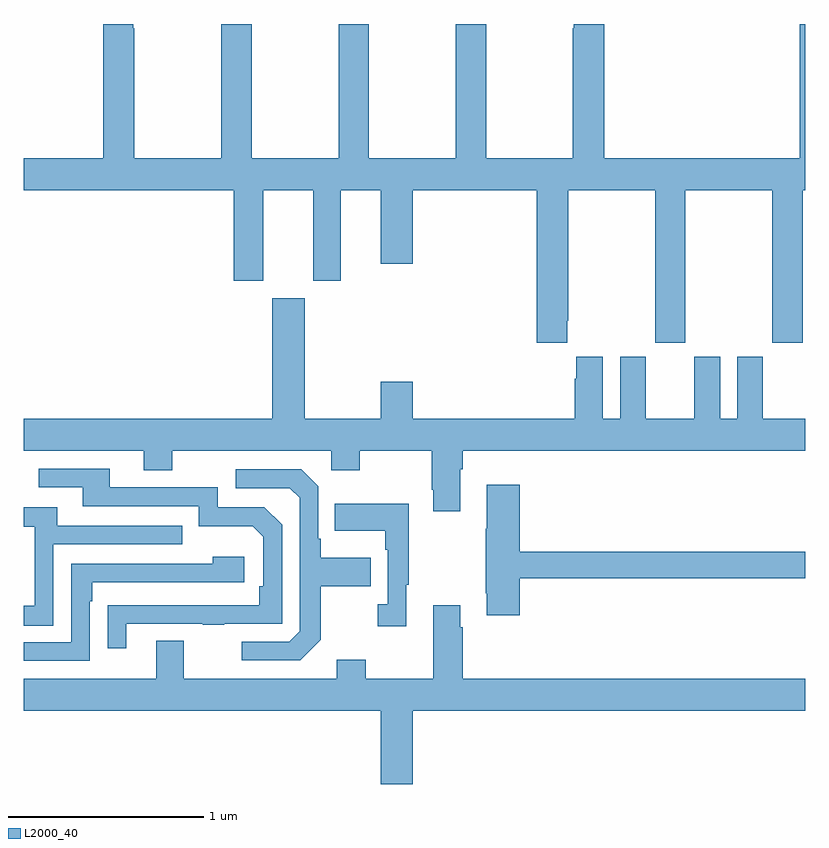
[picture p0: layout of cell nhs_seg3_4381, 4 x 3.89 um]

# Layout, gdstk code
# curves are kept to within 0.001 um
import gdstk
lib = gdstk.Library(unit=1e-6, precision=1e-09)
def P(c, l, *ps):  # polygons
    for p in ps: c.add(gdstk.Polygon(p, *l))
L2000_40 = (2000, 40)

nhs_seg3_4381 = lib.new_cell('nhs_seg3_4381')
P(nhs_seg3_4381, L2000_40, [(345.781,734.881),(345.786,734.881),(345.786,735.548),(346.231,735.548),(346.231,734.769),(346.386,734.769),(346.386,735.548),(346.831,735.548),(346.831,734.769),(346.986,734.769),(346.986,735.548),(347,735.548),(347,736.4),(346.973,736.4),(346.973,735.712),(345.971,735.712),(345.971,736.4),(345.815,736.4),(345.815,736.379),(345.811,736.379),(345.811,735.712),(345.366,735.712),(345.366,736.4),(345.211,736.4),(345.211,735.712),(344.766,735.712),(344.766,736.4),(344.611,736.4),(344.611,735.712),(344.166,735.712),(344.166,736.4),(344.011,736.4),(344.011,735.712),(343.566,735.712),(343.566,736.379),(343.561,736.379),(343.561,736.4),(343.406,736.4),(343.406,735.712),(343,735.712),(343,735.548),(344.075,735.548),(344.075,735.087),(344.227,735.087),(344.227,735.548),(344.483,735.548),(344.483,735.087),(344.623,735.087),(344.623,735.548),(344.828,735.548),(344.828,735.174),(344.992,735.174),(344.992,735.548),(345.626,735.548),(345.626,734.769),(345.781,734.769)],
  [(344.574,734.117),(344.721,734.117),(344.721,734.216),(345.088,734.216),(345.088,734.017),(345.095,734.017),(345.095,733.905),(345.235,733.905),(345.235,734.12),(345.248,734.12),(345.248,734.216),(347,734.216),(347,734.38),(346.783,734.38),(346.783,734.698),(346.652,734.698),(346.652,734.38),(346.564,734.38),(346.564,734.698),(346.433,734.698),(346.433,734.38),(346.183,734.38),(346.183,734.698),(346.052,734.698),(346.052,734.38),(345.964,734.38),(345.964,734.698),(345.827,734.698),(345.827,734.585),(345.821,734.585),(345.821,734.38),(344.992,734.38),(344.992,734.569),(344.828,734.569),(344.828,734.38),(344.437,734.38),(344.437,734.995),(344.273,734.995),(344.273,734.38),(343,734.38),(343,734.216),(343.613,734.216),(343.613,734.117),(343.761,734.117),(343.761,734.216),(344.574,734.216)],
  [(343.525,733.329),(343.915,733.329),(343.915,733.324),(344.027,733.324),(344.027,733.329),(344.322,733.329),(344.322,733.836),(344.232,733.926),(343.992,733.926),(343.992,734.028),(343.441,734.028),(343.441,734.124),(343.077,734.124),(343.077,734.028),(343.301,734.028),(343.301,733.932),(343.896,733.932),(343.896,733.829),(344.173,733.829),(344.226,733.776),(344.226,733.522),(344.206,733.522),(344.206,733.425),(343.429,733.424),(343.429,733.206),(343.525,733.206)],
  [(344.521,733.249),(344.521,733.522),(344.777,733.522),(344.777,733.669),(344.521,733.669),(344.521,733.765),(344.508,733.765),(344.508,734.034),(344.421,734.121),(344.085,734.121),(344.085,734.025),(344.361,734.025),(344.412,733.974),(344.412,733.293),(344.358,733.239),(344.115,733.239),(344.115,733.143),(344.415,733.143)],
  [(345.539,733.564),(347,733.564),(347,733.7),(345.539,733.7),(345.539,734.041),(345.371,734.041),(345.371,733.817),(345.364,733.817),(345.364,733.486),(345.371,733.486),(345.371,733.374),(345.539,733.374)],
  [(344.959,733.529),(344.971,733.529),(344.971,733.945),(344.593,733.945),(344.593,733.805),(344.85,733.805),(344.85,733.709),(344.862,733.709),(344.862,733.43),(344.811,733.43),(344.811,733.317),(344.959,733.317)],
  [(343.152,733.737),(343.811,733.737),(343.811,733.833),(343.171,733.833),(343.171,733.927),(343,733.927),(343,733.827),(343.056,733.827),(343.056,733.422),(343,733.422),(343,733.321),(343.152,733.321)],
  [(343.338,733.445),(343.351,733.445),(343.351,733.542),(344.128,733.542),(344.128,733.672),(343.967,733.672),(343.967,733.638),(343.242,733.638),(343.242,733.236),(343,733.236),(343,733.14),(343.338,733.14)],
  [(344.992,732.884),(347,732.884),(347,733.048),(345.248,733.048),(345.248,733.313),(345.235,733.313),(345.235,733.426),(345.095,733.426),(345.095,733.048),(344.751,733.048),(344.751,733.147),(344.603,733.147),(344.603,733.048),(343.819,733.048),(343.819,733.243),(343.679,733.243),(343.679,733.048),(343,733.048),(343,732.884),(344.828,732.884),(344.828,732.51),(344.992,732.51)])

lib.write_gds('nhs_seg3_4381.gds')
